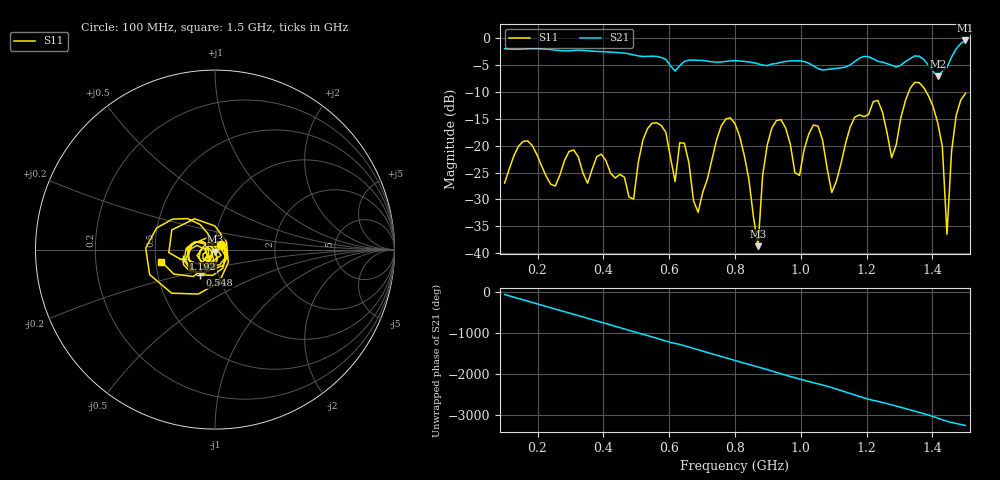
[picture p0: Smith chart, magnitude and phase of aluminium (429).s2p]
! NanoVNA-App
! Date: 2025-09-25 14:58:37
! Start: 100MHz Stop: 1,5GHz Points: 101
! S-Parameter data: F S11 S21 S12 S22
# Hz S RI R 50
!  Frequency  S11_Real  S11_Imag  S21_Real  S21_Imag  S12_Real  S12_Imag  S22_Real  S22_Imag
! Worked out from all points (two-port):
!   101 points, 100 MHz to 1.5 GHz, reference 50 ohm
!   highest |S21| = -0.38 dB at 1.5 GHz (marker M1); lowest = -7.0 dB at 1.416 GHz (marker M2)
!   |S21| within 3 dB of the highest: start of sweep to 563.6 MHz; 1.459 GHz to end of sweep (the widest 2 of 4)
!   lowest |S11| = -38.7 dB at 870 MHz (marker M3), VSWR 1.02, Z = 50.2 - j1.14 ohm
!   |S11| at or under -10 dB: start of sweep to 1.328 GHz; 1.381 GHz to end of sweep
!   S12 and S22 are empty: the file has one direction only
!   S11 on the Smith chart (normalised r, x): 100 MHz: 1.07, +0.06; 548 MHz: 0.82, -0.24; 1.192 GHz: 0.69, -0.07; 1.5 GHz: 0.53, -0.08
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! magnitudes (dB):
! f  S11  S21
! 100 MHz  -27.0  -1.9
! 156 MHz  -19.2  -2.0
! 338 MHz  -25.1  -2.2
! 492 MHz  -29.9  -3.1
! 548 MHz  -15.8  -3.3
! 576 MHz  -16.2  -3.5
! 646 MHz  -19.5  -4.3
! 688 MHz  -32.4  -4.1
! 800 MHz  -15.9  -4.2
! 870 MHz  -38.7  -4.7
! 912 MHz  -16.7  -4.8
! 996 MHz  -25.5  -4.2
! 1.038 GHz  -16.1  -5.1
! 1.094 GHz  -28.7  -5.7
! 1.192 GHz  -14.6  -3.4
! 1.234 GHz  -11.6  -4.3
! 1.276 GHz  -22.2  -5.0
! 1.346 GHz  -8.2  -3.3
! 1.416 GHz  -15.7  -7.0
! 1.444 GHz  -36.5  -5.4
! 1.472 GHz  -14.3  -1.9
! 1.5 GHz  -10.3  -0.4
